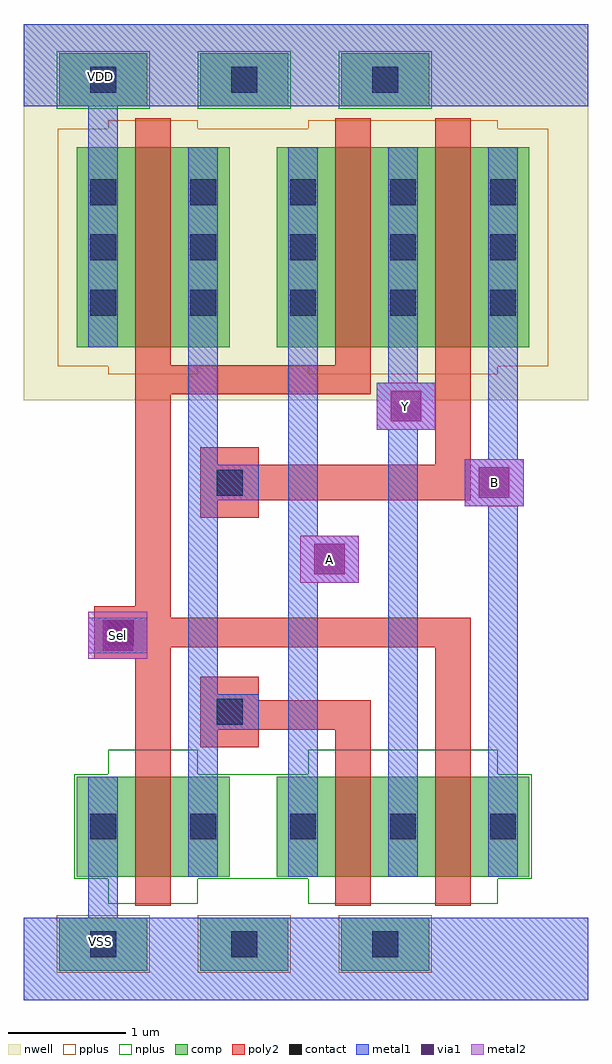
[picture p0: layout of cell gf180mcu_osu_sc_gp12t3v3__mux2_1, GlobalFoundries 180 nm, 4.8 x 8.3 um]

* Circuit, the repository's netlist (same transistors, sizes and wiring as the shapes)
* Copyright 2022 Google LLC
*
* Licensed under the Apache License, Version 2.0 (the "License");
* you may not use this file except in compliance with the License.
* You may obtain a copy of the License at
*
*      http://www.apache.org/licenses/LICENSE-2.0
*
* Unless required by applicable law or agreed to in writing, software
* distributed under the License is distributed on an "AS IS" BASIS,
* WITHOUT WARRANTIES OR CONDITIONS OF ANY KIND, either express or implied.
* See the License for the specific language governing permissions and
* limitations under the License.

.option scale=0.05u

.subckt gf180mcu_osu_sc_gp12t3v3__mux2_1 Y Sel A B
X0 B a_25_19 Y VDD pmos_3p3 w=34 l=6
X1 Y Sel A VDD pmos_3p3 w=34 l=6
X2 a_25_19 Sel VDD VDD pmos_3p3 w=34 l=6
X3 Y a_25_19 A VSS nmos_3p3 w=17 l=6
X4 a_25_19 Sel VSS VSS nmos_3p3 w=17 l=6
X5 B Sel Y VSS nmos_3p3 w=17 l=6
.ends

** hspice subcircuit dictionary

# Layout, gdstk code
import gdstk
lib = gdstk.Library(unit=1e-6, precision=1e-09)
def R(c, l, rs):  # rectangles x0, y0, x1, y1
    for r in rs: c.add(gdstk.rectangle(r[:2], r[2:], *l))
def A(c, l, x, y, w, h, nx, ny, dx, dy):  # array of equal rectangles
    R(c, l, [(x+i*dx, y+j*dy, x+i*dx+w, y+j*dy+h) for i in range(nx) for j in range(ny)])
nwell = (21, 0)
comp = (22, 0)
poly2 = (30, 0)
pplus = (31, 0)
nplus = (32, 0)
contact = (33, 0)
metal1 = (34, 0)
via1 = (35, 0)
metal2 = (36, 0)

gf180mcu_osu_sc_gp12t3v3 = lib.new_cell('gf180mcu_osu_sc_gp12t3v3__mux2_1')
R(gf180mcu_osu_sc_gp12t3v3, nwell, [(0,5.1,4.8,8.3)])
A(gf180mcu_osu_sc_gp12t3v3, comp, 0.3, 0.25, 0.75, 0.45, 3, 2, 1.2, 7.35)
R(gf180mcu_osu_sc_gp12t3v3, comp, [(0.45,1.05,1.75,1.9), (2.15,1.05,4.3,1.9), (0.45,5.55,1.75,7.25), (2.15,5.55,4.3,7.25)])
R(gf180mcu_osu_sc_gp12t3v3, poly2, [(0.95,0.8,1.25,2.9), (2.65,0.8,2.95,2.3), (3.5,0.8,3.8,3), (1.5,2.15,2,2.3), (1.5,2.3,2.95,2.55), (1.5,2.55,2,2.75), (0.6,2.9,1.25,3), (0.6,3,3.8,3.25), (0.6,3.25,1.25,3.35), (0.95,3.35,1.25,5.15), (1.5,4.1,2,4.25), (1.5,4.25,3.8,4.55), (1.5,4.55,2,4.7), (3.5,4.55,3.8,7.5), (0.95,5.15,2.95,5.4), (0.95,5.4,1.25,7.5), (2.65,5.4,2.95,7.5)])
A(gf180mcu_osu_sc_gp12t3v3, pplus, 0.28, 0.23, 0.79, 0.49, 3, 1, 1.2, 0)
R(gf180mcu_osu_sc_gp12t3v3, pplus, [(0.72,5.32,1.48,5.39), (2.42,5.32,4.03,5.39), (0.29,5.39,4.46,7.41), (0.72,7.41,1.48,7.48), (2.42,7.41,4.03,7.48)])
A(gf180mcu_osu_sc_gp12t3v3, nplus, 0.28, 7.58, 0.79, 0.49, 3, 1, 1.2, 0)
R(gf180mcu_osu_sc_gp12t3v3, nplus, [(0.72,0.82,1.48,1.03), (2.42,0.82,4.03,1.03), (0.43,1.03,4.32,1.92), (0.72,1.92,1.48,2.13), (2.42,1.92,4.03,2.13)])
A(gf180mcu_osu_sc_gp12t3v3, contact, 0.565, 0.365, 0.22, 0.22, 3, 2, 1.2, 7.35)
A(gf180mcu_osu_sc_gp12t3v3, contact, 0.565, 1.365, 0.22, 0.22, 5, 2, 0.85, 4.455)
A(gf180mcu_osu_sc_gp12t3v3, contact, 0.565, 6.29, 0.22, 0.22, 5, 2, 0.85, 0.47)
R(gf180mcu_osu_sc_gp12t3v3, contact, [(1.64,2.34,1.86,2.56), (0.715,3.015,0.935,3.235), (1.64,4.29,1.86,4.51)])
R(gf180mcu_osu_sc_gp12t3v3, metal1, [(0,0,4.8,0.7), (0.55,0.7,0.8,1.9), (1.4,1.05,1.65,2.3), (2.25,1.05,2.5,3.55), (3.1,1.05,3.35,4.85), (3.95,1.05,4.2,4.2), (1.4,2.3,2,2.6), (1.4,2.6,1.65,4.25), (0.55,2.95,1.05,3.25), (2.25,3.55,2.85,3.95), (2.25,3.95,2.5,7.25), (3.75,4.2,4.25,4.6), (1.4,4.25,2,4.55), (1.4,4.55,1.65,7.25), (3.95,4.6,4.2,7.25), (3,4.85,3.5,5.25), (3.1,5.25,3.35,7.25), (0.55,5.55,0.8,7.6), (0,7.6,4.8,8.3)])
R(gf180mcu_osu_sc_gp12t3v3, via1, [(0.67,2.97,0.93,3.23), (2.47,3.62,2.73,3.88), (3.87,4.27,4.13,4.53), (3.12,4.92,3.38,5.18)])
R(gf180mcu_osu_sc_gp12t3v3, metal2, [(0.55,2.9,1.05,3.3), (2.35,3.55,2.85,3.95), (3.75,4.2,4.25,4.6), (3,4.85,3.5,5.25)])
gf180mcu_osu_sc_gp12t3v3.add(gdstk.Label('A', (2.6,3.75), layer=36, texttype=10))
gf180mcu_osu_sc_gp12t3v3.add(gdstk.Label('B', (4,4.4), layer=36, texttype=10))
gf180mcu_osu_sc_gp12t3v3.add(gdstk.Label('Y', (3.25,5.05), layer=36, texttype=10))
gf180mcu_osu_sc_gp12t3v3.add(gdstk.Label('Sel', (0.8,3.1), layer=36, texttype=10))
gf180mcu_osu_sc_gp12t3v3.add(gdstk.Label('VDD', (0.65,7.85), layer=34, texttype=10))
gf180mcu_osu_sc_gp12t3v3.add(gdstk.Label('VSS', (0.65,0.5), layer=34, texttype=10))

lib.write_gds('gf180mcu_osu_sc_gp12t3v3__mux2_1.gds')
